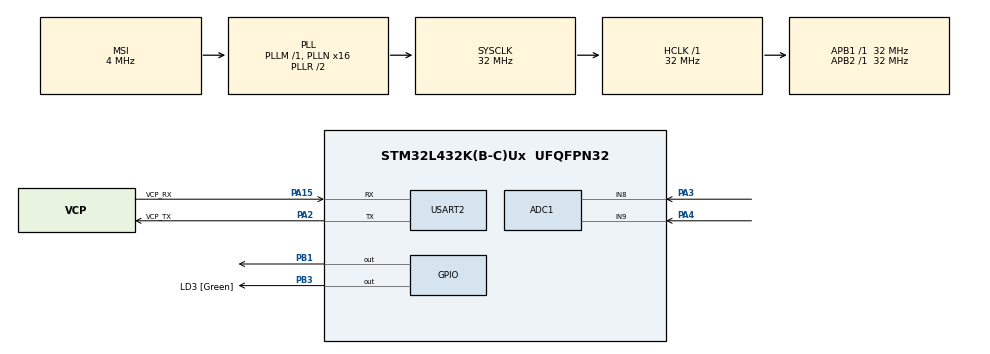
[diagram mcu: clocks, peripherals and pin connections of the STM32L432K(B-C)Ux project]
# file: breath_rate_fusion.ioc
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ADC1.Channel-0\#ChannelRegularConversion=ADC_CHANNEL_8
ADC1.Channel-2\#ChannelRegularConversion=ADC_CHANNEL_9
ADC1.ContinuousConvMode=ENABLE
ADC1.DMAContinuousRequests=ENABLE
ADC1.EOCSelection=ADC_EOC_SEQ_CONV
ADC1.NbrOfConversion=2
ADC1.NbrOfConversionFlag=1
ADC1.OffsetNumber-0\#ChannelRegularConversion=ADC_OFFSET_NONE
ADC1.OffsetNumber-2\#ChannelRegularConversion=ADC_OFFSET_NONE
ADC1.Rank-0\#ChannelRegularConversion=1
ADC1.Rank-2\#ChannelRegularConversion=2
ADC1.SamplingTime-0\#ChannelRegularConversion=ADC_SAMPLETIME_640CYCLES_5
ADC1.SamplingTime-2\#ChannelRegularConversion=ADC_SAMPLETIME_640CYCLES_5
ADC1.master=1
Dma.ADC1.0.Direction=DMA_PERIPH_TO_MEMORY
Dma.ADC1.0.Instance=DMA1_Channel1
Dma.ADC1.0.MemDataAlignment=DMA_MDATAALIGN_HALFWORD
Dma.ADC1.0.MemInc=DMA_MINC_ENABLE
Dma.ADC1.0.Mode=DMA_CIRCULAR
Dma.ADC1.0.PeriphDataAlignment=DMA_PDATAALIGN_HALFWORD
Dma.ADC1.0.PeriphInc=DMA_PINC_DISABLE
Dma.ADC1.0.Priority=DMA_PRIORITY_LOW
Dma.Request0=ADC1
Mcu.Family=STM32L4
Mcu.Name=STM32L432K(B-C)Ux
Mcu.Package=UFQFPN32
NVIC.DMA1_Channel1_IRQn=true\:0\:0\:false\:false\:true\:false\:true\:true
NVIC.PriorityGroup=NVIC_PRIORITYGROUP_4
PA0.GPIO_Label=MCO [High speed clock in]
PA0.Mode=HSE-External-Clock-Source-for-LittleOrca
PA0.Signal=RCC_CK_IN
PA13\ (JTMS-SWDIO).GPIO_Label=SWDIO
PA13\ (JTMS-SWDIO).Mode=Serial_Wire
PA13\ (JTMS-SWDIO).Signal=SYS_JTMS-SWDIO
PA14\ (JTCK-SWCLK).GPIO_Label=SWCLK
PA14\ (JTCK-SWCLK).Mode=Serial_Wire
PA14\ (JTCK-SWCLK).Signal=SYS_JTCK-SWCLK
PA15\ (JTDI).GPIO_Label=VCP_RX
PA15\ (JTDI).Mode=Asynchronous
PA15\ (JTDI).Signal=USART2_RX
PA2.GPIO_Label=VCP_TX
PA2.Mode=Asynchronous
PA2.Signal=USART2_TX
PA3.Signal=ADCx_IN8
PA4.Signal=ADCx_IN9
PB1.Signal=GPIO_Output
PB3\ (JTDO-TRACESWO).GPIO_Label=LD3 [Green]
PB3\ (JTDO-TRACESWO).Signal=GPIO_Output
PC14-OSC32_IN\ (PC14).Mode=LSE-External-Oscillator
PC14-OSC32_IN\ (PC14).Signal=RCC_OSC32_IN
PC15-OSC32_OUT\ (PC15).Mode=LSE-External-Oscillator
PC15-OSC32_OUT\ (PC15).Signal=RCC_OSC32_OUT
ProjectManager.HeapSize=0x200
ProjectManager.StackSize=0x400
ProjectManager.TargetToolchain=STM32CubeIDE
RCC.ADCFreq_Value=32000000
RCC.AHBFreq_Value=32000000
RCC.APB1Freq_Value=32000000
RCC.APB1TimFreq_Value=32000000
RCC.APB2Freq_Value=32000000
RCC.APB2TimFreq_Value=32000000
RCC.CortexFreq_Value=32000000
RCC.HCLKFreq_Value=32000000
RCC.HSE_VALUE=8000000
RCC.HSI16_VALUE=16000000
RCC.HSI48_VALUE=48000000
RCC.HSI_VALUE=16000000
RCC.MSI_VALUE=4000000
RCC.PLLMUL=RCC_PLLMUL_4
RCC.PLLN=16
RCC.PLLSAI1N=16
RCC.SYSCLKFreq_VALUE=32000000
RCC.SYSCLKSource=RCC_SYSCLKSOURCE_PLLCLK
RCC.USBFreq_Value=32000000
RCC.VCOOutputFreq_Value=64000000
SH.ADCx_IN8.0=ADC1_IN8,IN8-Single-Ended
SH.ADCx_IN9.0=ADC1_IN9,IN9-Single-Ended
USART2.VirtualMode-Asynchronous=VM_ASYNC
board=NUCLEO-L432KC

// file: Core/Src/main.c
/* USER CODE BEGIN Header */
/**
  ******************************************************************************
  * @file           : main.c
  * @brief          : Main program body
  ******************************************************************************
  * @attention
  *
  * Copyright (c) 2025 STMicroelectronics.
  * All rights reserved.
  *
  * This software is licensed under terms that can be found in the LICENSE file
  * in the root directory of this software component.
  * If no LICENSE file comes with this software, it is provided AS-IS.
  *
  ******************************************************************************
  */
/* USER CODE END Header */
#include "main.h"
#include <math.h>

/* USER CODE BEGIN PTD */
// --- Bandpass filter state ---
typedef struct {
    float x1, x2;
    float y1, y2;
} BiquadState;

// Structure to hold biquad coefficients
typedef struct {
    float b0, b1, b2;
    float a1, a2;
} BiquadCoeffs;
/* USER CODE END PTD */

/* USER CODE BEGIN PD */

#define BUFFER_SIZE 256
#define SAMPLE_RATE 20 // Hz
#define FILTER_WINDOW 5
#define BREATH_THRESHOLD 0.1f
#define MIN_BREATH_INTERVAL 1.0f // seconds
// Covariances for each sensor (tune as needed)
#define KALMAN_Q_FUSED 1.0f  // Process noise
#define KALMAN_R_THERMISTOR 3.0f  // Measurement noise for thermistor
#define KALMAN_R_STRAIN     10.0f  // Measurement noise for strain

/* USER CODE END PD */

ADC_HandleTypeDef hadc1;
DMA_HandleTypeDef hdma_adc1;

UART_HandleTypeDef huart2;

/* USER CODE BEGIN PV */
uint16_t adcBuffer[2]; // For dual channel ADC
float thermistorHistory[BUFFER_SIZE];
float strainHistory[BUFFER_SIZE];
uint32_t sampleTimestamps[BUFFER_SIZE];
uint16_t bufferIndex = 0;

// Add these static variables for the high-pass filter state
static float prevInputThermistor = 0.0f;
static float prevOutputThermistor = 0.0f;
static float prevInputStrain = 0.0f;
static float prevOutputStrain = 0.0f;

// Kalman filter variables
float kalmanFusedEstimate = 0.0f;
float kalmanFusedError = 1.0f;
float fusedBreathRate = 0;

// Biquad filter coefficients
BiquadCoeffs thermistorCoeffs;
BiquadCoeffs strainCoeffs;
/* USER CODE END PV */

void SystemClock_Config(void);
static void MX_GPIO_Init(void);
static void MX_DMA_Init(void);
static void MX_USART2_UART_Init(void);
static void MX_ADC1_Init(void);
/* USER CODE BEGIN PFP */
float readTemperature(uint16_t adcValue);
float readVolts(uint16_t adcValue);
float applyMovingAverageFilter(float newValue, float *history);
float highPassFilter(float input, float *prevInput, float *prevOutput, float cutoffHz, float sampleRate);
void detectBreaths(float *signal, uint32_t *timestamps, uint16_t *count, float *intervals, float threshold, uint8_t *breathDetected, uint8_t detectNegativePeak);
void updateFusedKalmanFilter(
    float meas1, float meas2,
    float R1, float R2,
    float *estimate, float *error);
void sendDataViaUART(
    float filteredThermistor,
    float filteredStrain,
    float fusedBreathRate,
    float thermistorRate,
    float strainRate,
    uint8_t breathDetectedThermistor,
    uint8_t breathDetectedStrain
);
void blinkLED();
float biquadBandpass(float x, BiquadState *state, BiquadCoeffs *coeffs);
void calcBiquadBandpassCoeffs(float fs, float f_low, float f_high, BiquadCoeffs *coeffs);
void initFilters();
/* USER CODE END PFP */

int main(void)
{

  /* MCU Configuration--------------------------------------------------------*/

  /* Reset of all peripherals, Initializes the Flash interface and the Systick. */
  HAL_Init();

  /* Configure the system clock */
  SystemClock_Config();

  /* Initialize all configured peripherals */
  MX_GPIO_Init();
  MX_DMA_Init();
  MX_USART2_UART_Init();
  MX_ADC1_Init();
  /* USER CODE BEGIN 2 */
  // Start ADC with DMA
  HAL_ADC_Start_DMA(&hadc1, (uint32_t*)adcBuffer, 2);

  // Initialize filters
  memset(thermistorHistory, 0, sizeof(thermistorHistory));
  memset(strainHistory, 0, sizeof(strainHistory));

  uint32_t lastSampleTime = 0;
  uint16_t breathCountThermistor = 0;
  uint16_t breathCountStrain = 0;
  uint16_t lastBreathCountThermistor = 0;
  uint16_t lastBreathCountStrain = 0;
  uint8_t breathDetectedThermistor = 0;
  uint8_t breathDetectedStrain = 0;
  float breathIntervalsThermistor[10] = {0};
  float breathIntervalsStrain[10] = {0};

  static BiquadState thermistorBPState = {0};
  static BiquadState strainBPState = {0};

  initFilters();
  /* USER CODE END 2 */

  /* Infinite loop */
  /* USER CODE BEGIN WHILE */
  while (1)
  {
	  uint32_t currentTime = HAL_GetTick();
	  // Sample at fixed interval
	  if (currentTime - lastSampleTime >= (1000 / SAMPLE_RATE)) {
		lastSampleTime = currentTime;

		// Read and convert ADC values
		float tempValue = readVolts(adcBuffer[0]);
		float strainValue = readVolts(adcBuffer[1]);

		// Apply filters
		// tempValue = applyMovingAverageFilter(tempValue, thermistorHistory);
		// strainValue = applyMovingAverageFilter(strainValue, strainHistory);

    // Apply bandpass filter to remove drift and noise
    tempValue = biquadBandpass(tempValue, &thermistorBPState, &thermistorCoeffs);
    strainValue = biquadBandpass(strainValue, &strainBPState, &strainCoeffs);
		// Store in circular buffer
		thermistorHistory[bufferIndex] = tempValue;
		strainHistory[bufferIndex] = strainValue;
		sampleTimestamps[bufferIndex] = currentTime;
		bufferIndex = (bufferIndex + 1) % BUFFER_SIZE;

		// Detect breaths
	  detectBreaths(thermistorHistory, sampleTimestamps, &breathCountThermistor, breathIntervalsThermistor, -0.15, &breathDetectedThermistor, 1); // negative peak for temp
	  detectBreaths(strainHistory, sampleTimestamps, &breathCountStrain, breathIntervalsStrain, 0.25, &breathDetectedStrain, 0); // positive peak for strain
	  // Calculate breath rates
	  float thermistorRate = 0, strainRate = 0;
	  if (breathCountThermistor >= 2) {
		thermistorRate = 60.0f / (breathIntervalsThermistor[0] / 1000.0f);
	  }

	  if (breathCountStrain >= 2) {
		strainRate = 60.0f / (breathIntervalsStrain[0] / 1000.0f);
	  }

    // Update kalman filter and send over uart if there is a change in breath counts for thermistor and strain
    if (breathCountThermistor != lastBreathCountThermistor && breathCountStrain != lastBreathCountStrain) {
      // Sensor fusion
      updateFusedKalmanFilter(
      thermistorRate, strainRate,
      KALMAN_R_THERMISTOR, KALMAN_R_STRAIN,
      &kalmanFusedEstimate, &kalmanFusedError
      );
      lastBreathCountThermistor = breathCountThermistor;
      lastBreathCountStrain = breathCountStrain;
      }

    // Send data
    sendDataViaUART(
    tempValue,
    strainValue,
    kalmanFusedEstimate,
    thermistorRate,
    strainRate,
    breathDetectedThermistor,
    breathDetectedStrain
);

    /* USER CODE END WHILE */
    }
  }
}

void SystemClock_Config(void)
{
  RCC_OscInitTypeDef RCC_OscInitStruct = {0};
  RCC_ClkInitTypeDef RCC_ClkInitStruct = {0};

  /** Configure the main internal regulator output voltage
  */
  if (HAL_PWREx_ControlVoltageScaling(PWR_REGULATOR_VOLTAGE_SCALE1) != HAL_OK)
  {
    Error_Handler();
  }

  /** Configure LSE Drive Capability
  */
  HAL_PWR_EnableBkUpAccess();
  __HAL_RCC_LSEDRIVE_CONFIG(RCC_LSEDRIVE_LOW);

  /** Initializes the RCC Oscillators according to the specified parameters
  * in the RCC_OscInitTypeDef structure.
  */
  RCC_OscInitStruct.OscillatorType = RCC_OSCILLATORTYPE_LSE|RCC_OSCILLATORTYPE_MSI;
  RCC_OscInitStruct.LSEState = RCC_LSE_ON;
  RCC_OscInitStruct.MSIState = RCC_MSI_ON;
  RCC_OscInitStruct.MSICalibrationValue = 0;
  RCC_OscInitStruct.MSIClockRange = RCC_MSIRANGE_6;
  RCC_OscInitStruct.PLL.PLLState = RCC_PLL_ON;
  RCC_OscInitStruct.PLL.PLLSource = RCC_PLLSOURCE_MSI;
  RCC_OscInitStruct.PLL.PLLM = 1;
  RCC_OscInitStruct.PLL.PLLN = 16;
  RCC_OscInitStruct.PLL.PLLP = RCC_PLLP_DIV7;
  RCC_OscInitStruct.PLL.PLLQ = RCC_PLLQ_DIV2;
  RCC_OscInitStruct.PLL.PLLR = RCC_PLLR_DIV2;
  if (HAL_RCC_OscConfig(&RCC_OscInitStruct) != HAL_OK)
  {
    Error_Handler();
  }

  /** Initializes the CPU, AHB and APB buses clocks
  */
  RCC_ClkInitStruct.ClockType = RCC_CLOCKTYPE_HCLK|RCC_CLOCKTYPE_SYSCLK
                              |RCC_CLOCKTYPE_PCLK1|RCC_CLOCKTYPE_PCLK2;
  RCC_ClkInitStruct.SYSCLKSource = RCC_SYSCLKSOURCE_PLLCLK;
  RCC_ClkInitStruct.AHBCLKDivider = RCC_SYSCLK_DIV1;
  RCC_ClkInitStruct.APB1CLKDivider = RCC_HCLK_DIV1;
  RCC_ClkInitStruct.APB2CLKDivider = RCC_HCLK_DIV1;

  if (HAL_RCC_ClockConfig(&RCC_ClkInitStruct, FLASH_LATENCY_1) != HAL_OK)
  {
    Error_Handler();
  }

  /** Enable MSI Auto calibration
  */
  HAL_RCCEx_EnableMSIPLLMode();
}

static void MX_ADC1_Init(void)
{

  ADC_ChannelConfTypeDef sConfig = {0};

  /** Common config
  */
  hadc1.Instance = ADC1;
  hadc1.Init.ClockPrescaler = ADC_CLOCK_ASYNC_DIV1;
  hadc1.Init.Resolution = ADC_RESOLUTION_12B;
  hadc1.Init.DataAlign = ADC_DATAALIGN_RIGHT;
  hadc1.Init.ScanConvMode = ADC_SCAN_ENABLE;
  hadc1.Init.EOCSelection = ADC_EOC_SEQ_CONV;
  hadc1.Init.LowPowerAutoWait = DISABLE;
  hadc1.Init.ContinuousConvMode = ENABLE;
  hadc1.Init.NbrOfConversion = 2;
  hadc1.Init.DiscontinuousConvMode = DISABLE;
  hadc1.Init.ExternalTrigConv = ADC_SOFTWARE_START;
  hadc1.Init.ExternalTrigConvEdge = ADC_EXTERNALTRIGCONVEDGE_NONE;
  hadc1.Init.DMAContinuousRequests = ENABLE;
  hadc1.Init.Overrun = ADC_OVR_DATA_PRESERVED;
  hadc1.Init.OversamplingMode = DISABLE;
  if (HAL_ADC_Init(&hadc1) != HAL_OK)
  {
    Error_Handler();
  }

  /** Configure Regular Channel
  */
  sConfig.Channel = ADC_CHANNEL_8;
  sConfig.Rank = ADC_REGULAR_RANK_1;
  sConfig.SamplingTime = ADC_SAMPLETIME_640CYCLES_5;
  sConfig.SingleDiff = ADC_SINGLE_ENDED;
  sConfig.OffsetNumber = ADC_OFFSET_NONE;
  sConfig.Offset = 0;
  if (HAL_ADC_ConfigChannel(&hadc1, &sConfig) != HAL_OK)
  {
    Error_Handler();
  }

  /** Configure Regular Channel
  */
  sConfig.Channel = ADC_CHANNEL_9;
  sConfig.Rank = ADC_REGULAR_RANK_2;
  if (HAL_ADC_ConfigChannel(&hadc1, &sConfig) != HAL_OK)
  {
    Error_Handler();
  }

}

static void MX_USART2_UART_Init(void)
{

  huart2.Instance = USART2;
  huart2.Init.BaudRate = 115200;
  huart2.Init.WordLength = UART_WORDLENGTH_8B;
  huart2.Init.StopBits = UART_STOPBITS_1;
  huart2.Init.Parity = UART_PARITY_NONE;
  huart2.Init.Mode = UART_MODE_TX_RX;
  huart2.Init.HwFlowCtl = UART_HWCONTROL_NONE;
  huart2.Init.OverSampling = UART_OVERSAMPLING_16;
  huart2.Init.OneBitSampling = UART_ONE_BIT_SAMPLE_DISABLE;
  huart2.AdvancedInit.AdvFeatureInit = UART_ADVFEATURE_NO_INIT;
  if (HAL_UART_Init(&huart2) != HAL_OK)
  {
    Error_Handler();
  }

}

static void MX_DMA_Init(void)
{

  /* DMA controller clock enable */
  __HAL_RCC_DMA1_CLK_ENABLE();

  /* DMA interrupt init */
  /* DMA1_Channel1_IRQn interrupt configuration */
  HAL_NVIC_SetPriority(DMA1_Channel1_IRQn, 0, 0);
  HAL_NVIC_EnableIRQ(DMA1_Channel1_IRQn);

}

static void MX_GPIO_Init(void)
{
  GPIO_InitTypeDef GPIO_InitStruct = {0};

  /* GPIO Ports Clock Enable */
  __HAL_RCC_GPIOC_CLK_ENABLE();
  __HAL_RCC_GPIOA_CLK_ENABLE();
  __HAL_RCC_GPIOB_CLK_ENABLE();

  /*Configure GPIO pin Output Level */
  HAL_GPIO_WritePin(GPIOB, GPIO_PIN_1|LD3_Pin, GPIO_PIN_RESET);

  /*Configure GPIO pins : PB1 LD3_Pin */
  GPIO_InitStruct.Pin = GPIO_PIN_1|LD3_Pin;
  GPIO_InitStruct.Mode = GPIO_MODE_OUTPUT_PP;
  GPIO_InitStruct.Pull = GPIO_NOPULL;
  GPIO_InitStruct.Speed = GPIO_SPEED_FREQ_LOW;
  HAL_GPIO_Init(GPIOB, &GPIO_InitStruct);

}

/* USER CODE BEGIN 4 */
float readTemperature(uint16_t adcValue) {
  // Convert ADC value to temperature using thermistor equation
  // This is a simplified example - you'll need to implement your specific thermistor conversion
  float voltage = adcValue * 3.3f / 4095.0f;
  float resistance = 10000.0f * (3.3f / voltage - 1.0f);
  float steinhart = log(resistance / 10000.0f) / 3950.0f + 1.0f / (25.0f + 273.15f);
  float temperature = (1.0f / steinhart) - 273.15f;
  return temperature;
}

float readVolts(uint16_t adcValue) {
  // Convert ADC value to voltage
  return adcValue * 3.3f / 4095.0f;
}

float applyMovingAverageFilter(float newValue, float *history) {
  float sum = newValue;
  for (int i = 0; i < FILTER_WINDOW; i++) {
    sum += history[(bufferIndex - i + BUFFER_SIZE) % BUFFER_SIZE];
  }
  return sum / (FILTER_WINDOW + 1);
}

// High-pass filter function (single-pole IIR)
// cutoffHz: e.g. 0.1 for slow drift removal, sampleRate: e.g. 20
float highPassFilter(float input, float *prevInput, float *prevOutput, float cutoffHz, float sampleRate) {
    float RC = 1.0f / (2.0f * 3.1415926f * cutoffHz);
    float dt = 1.0f / sampleRate;
    float alpha = RC / (RC + dt);
    float output = alpha * (*prevOutput + input - *prevInput);
    *prevInput = input;
    *prevOutput = output;
    return output;
}

float biquadBandpass(float x, BiquadState *state, BiquadCoeffs *coeffs) {
    float y = coeffs->b0 * x + coeffs->b1 * state->x1 + coeffs->b2 * state->x2
              - coeffs->a1 * state->y1 - coeffs->a2 * state->y2;
    state->x2 = state->x1;
    state->x1 = x;
    state->y2 = state->y1;
    state->y1 = y;
    return y;
}

// Calculate 2nd-order Butterworth bandpass coefficients
void calcBiquadBandpassCoeffs(float fs, float f_low, float f_high, BiquadCoeffs *coeffs) {
    float omega1 = 2.0f * M_PI * f_low / fs;
    float omega2 = 2.0f * M_PI * f_high / fs;
    float bw = omega2 - omega1;
    float omega0 = (omega2 + omega1) / 2.0f;
    float Q = omega0 / bw;

    float alpha = sinf(omega0) / (2.0f * Q);
    float cos_omega0 = cosf(omega0);

    float b0 = alpha;
    float b1 = 0.0f;
    float b2 = -alpha;
    float a0 = 1.0f + alpha;
    float a1 = -2.0f * cos_omega0;
    float a2 = 1.0f - alpha;

    // Normalize coefficients
    coeffs->b0 = b0 / a0;
    coeffs->b1 = b1 / a0;
    coeffs->b2 = b2 / a0;
    coeffs->a1 = a1 / a0;
    coeffs->a2 = a2 / a0;
}

void initFilters() {
    // For 20Hz sample rate, 0.05Hz - 1Hz band
    calcBiquadBandpassCoeffs(SAMPLE_RATE, 0.01f, 1.0f, &thermistorCoeffs);
    calcBiquadBandpassCoeffs(SAMPLE_RATE, 0.01f, 1.0f, &strainCoeffs);
}

void detectBreaths(
    float *signal,
    uint32_t *timestamps,
    uint16_t *count,
    float *intervals,
    float threshold,
    uint8_t *breathDetected,
    uint8_t detectNegativePeak)
{
    // Make lastState and lastPeakTime static per function call (per sensor)
    static uint8_t lastStateThermistor = 0;
    static uint8_t lastStateStrain = 0;
    static uint32_t lastPeakTimeThermistor = 0;
    static uint32_t lastPeakTimeStrain = 0;

    int prev = (bufferIndex - 3 + BUFFER_SIZE) % BUFFER_SIZE;
    int curr = (bufferIndex - 2 + BUFFER_SIZE) % BUFFER_SIZE;
    int next = (bufferIndex - 1 + BUFFER_SIZE) % BUFFER_SIZE;

    float previous = signal[prev];
    float current  = signal[curr];
    float nextVal  = signal[next];

    *breathDetected = 0; // Default to no breath detected

    // Use separate state for each sensor
    uint8_t *lastState = detectNegativePeak ? &lastStateThermistor : &lastStateStrain;
    uint32_t *lastPeakTime = detectNegativePeak ? &lastPeakTimeThermistor : &lastPeakTimeStrain;

    if (detectNegativePeak) {
        // Detect negative peaks (e.g., inhale for thermistor)
        if (current < previous && current < nextVal && current < threshold) {
            if (*lastState == 0) {
                *lastState = 1;
                if (*lastPeakTime > 0) {
                    float interval = timestamps[curr] - *lastPeakTime;
                    if (interval > MIN_BREATH_INTERVAL * 1000) {
                        for (int i = 8; i >= 0; i--) {
                            intervals[i+1] = intervals[i];
                        }
                        intervals[0] = interval;
                        (*count)++;
                        *breathDetected = 1;
                        *lastPeakTime = timestamps[curr];
                    }
                } else {
                    *lastPeakTime = timestamps[curr];
                }
            }
        } else if (current > threshold) {
            *lastState = 0;
        }
    } else {
        // Detect positive peaks (e.g., exhale for strain)
        if (current > previous && current > nextVal && current > threshold) {
            if (*lastState == 0) {
                *lastState = 1;
                if (*lastPeakTime > 0) {
                    float interval = timestamps[curr] - *lastPeakTime;
                    if (interval > MIN_BREATH_INTERVAL * 1000) {
                        for (int i = 8; i >= 0; i--) {
                            intervals[i+1] = intervals[i];
                        }
                        intervals[0] = interval;
                        (*count)++;
                        *breathDetected = 1;
                        *lastPeakTime = timestamps[curr];
                    }
                } else {
                    *lastPeakTime = timestamps[curr];
                }
            }
        } else if (current < threshold) {
            *lastState = 0;
        }
    }
}

// --- Multisensor Kalman update function ---
void updateFusedKalmanFilter(
    float meas1, float meas2,
    float R1, float R2,
    float *estimate, float *error)
{
    // Prediction
    float errorPrediction = *error + KALMAN_Q_FUSED;

    // If both measurements are valid (>0), fuse both
    if (meas1 > 0 && meas2 > 0) {
        // Combined measurement and noise
        float z = (meas1 / R1 + meas2 / R2) / (1.0f / R1 + 1.0f / R2);
        float R = 1.0f / (1.0f / R1 + 1.0f / R2);

        // Kalman gain
        float K = errorPrediction / (errorPrediction + R);

        // Update
        *estimate = *estimate + K * (z - *estimate);
        *error = (1 - K) * errorPrediction;
    }
    // Only thermistor valid
    else if (meas1 > 0) {
        float K = errorPrediction / (errorPrediction + R1);
        *estimate = *estimate + K * (meas1 - *estimate);
        *error = (1 - K) * errorPrediction;
    }
    // Only strain valid
    else if (meas2 > 0) {
        float K = errorPrediction / (errorPrediction + R2);
        *estimate = *estimate + K * (meas2 - *estimate);
        *error = (1 - K) * errorPrediction;
    }
    // No valid measurement, prediction only
    else {
        *error = errorPrediction;
    }
}

void blinkLED(){
	// Toggle LED
	    HAL_GPIO_TogglePin(GPIOB, GPIO_PIN_1);

	    // Delay for 500ms
	    HAL_Delay(1000);

	    HAL_GPIO_TogglePin(GPIOB, GPIO_PIN_1);
}

// Update sendDataViaUART to include the detection flags:
void sendDataViaUART(
    float filteredThermistor,
    float filteredStrain,
    float fusedBreathRate,
    float thermistorRate,
    float strainRate,
    uint8_t breathDetectedThermistor,
    uint8_t breathDetectedStrain
) {
    char buffer[120];
    // Format: thermistor, strain, fused_rate, thermistor_rate, strain_rate, breathDetectedThermistor, breathDetectedStrain\n
    int length = snprintf(buffer, sizeof(buffer), "%.4f,%.4f,%.2f,%.2f,%.2f,%d,%d\n",
                          filteredThermistor, filteredStrain, fusedBreathRate,
                          thermistorRate, strainRate,
                          breathDetectedThermistor, breathDetectedStrain);
    HAL_UART_Transmit(&huart2, (uint8_t*)buffer, length, HAL_MAX_DELAY);
}
/* USER CODE END 4 */

void Error_Handler(void)
{
  __disable_irq();
  while (1)
  {
  }
}
